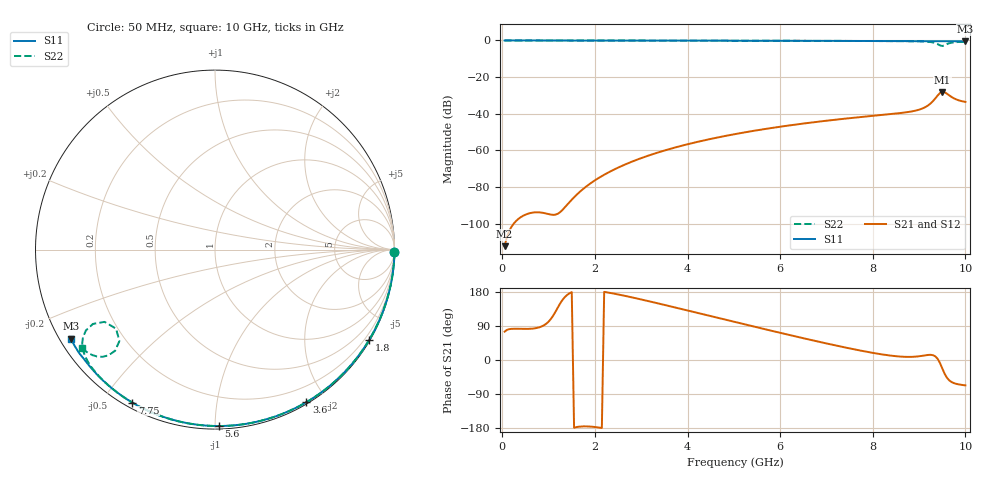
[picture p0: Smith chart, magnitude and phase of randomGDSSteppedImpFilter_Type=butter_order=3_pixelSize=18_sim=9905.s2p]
! freq	dB(S11)	phase(S11)	dB(S12)	phase(S12)
!  dB(S21)	phase(S21)	dB(S22)	phase(S22)
!S-par simulation data
#  GHz  S  DB  R 50
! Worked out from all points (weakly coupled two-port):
!   200 points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, 50 MHz to 10 GHz, reference 50 ohm
!   highest |S21| = -28.07 dB at 9.5 GHz (marker M1); lowest = -112.3 dB at 50 MHz (marker M2)
!   lowest |S11| = -0.5 dB at 10 GHz (marker M3), VSWR 35.31, Z = 1.53 - j14.2 ohm
!   |S11| at or under -10 dB: nowhere
!   |S22| runs from -3.0 to 0.0 dB; largest |S21 - S12| = 0
!   S11 on the Smith chart (normalised r, x): 50 MHz: open; 1.8 GHz: 0.03, -3.69; 3.6 GHz: 0.02, -1.76; 5.6 GHz: 0.02, -1.02; 7.75 GHz: 0.02, -0.60; 10 GHz: 0.03, -0.28
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0.05  -0.00 -0.9  -112.34 74.8  -112.34 74.8  -0.00 -0.9
1.75  -0.04 -29.5  -81.01 -175.2  -81.01 -175.2  -0.04 -29.7
1.8  -0.04 -30.3  -79.99 -175.1  -79.99 -175.1  -0.04 -30.5
2.1  -0.04 -35.2  -74.81 -178.3  -74.81 -178.3  -0.04 -35.5
2.5  -0.05 -41.7  -69.45 173.0  -69.45 173.0  -0.05 -42.0
3.4  -0.07 -56.0  -60.88 148.3  -60.88 148.3  -0.07 -56.4
3.6  -0.08 -59.1  -59.38 142.5  -59.38 142.5  -0.08 -59.5
5.05  -0.12 -80.9  -51.02 99.5  -51.02 99.5  -0.12 -81.4
5.6  -0.15 -88.9  -48.64 83.3  -48.64 83.3  -0.15 -89.4
6.7  -0.20 -104.2  -44.74 51.9  -44.74 51.9  -0.20 -104.9
7.75  -0.28 -118.4  -41.79 24.5  -41.79 24.5  -0.28 -119.4
8.35  -0.33 -126.4  -40.31 12.1  -40.31 12.1  -0.34 -127.9
8.85  -0.38 -133.0  -38.71 8.3  -38.71 8.3  -0.43 -135.7
9.1  -0.40 -136.3  -36.84 11.7  -36.84 11.7  -0.58 -140.8
9.25  -0.42 -138.3  -34.36 13.7  -34.36 13.7  -0.87 -144.9
9.35  -0.43 -139.5  -31.66 9.7  -31.66 9.7  -1.43 -148.0
9.45  -0.44 -140.8  -28.74 -7.7  -28.74 -7.7  -2.67 -146.8
9.5  -0.43 -141.5  -28.07 -22.0  -28.07 -22.0  -3.03 -141.4
9.55  -0.43 -142.2  -28.28 -36.0  -28.28 -36.0  -2.66 -136.3
9.65  -0.44 -143.6  -29.99 -53.6  -29.99 -53.6  -1.55 -135.2
9.8  -0.46 -145.6  -32.16 -62.8  -32.16 -62.8  -0.91 -139.2
10  -0.49 -148.3  -33.54 -67.0  -33.54 -67.0  -0.70 -143.7
